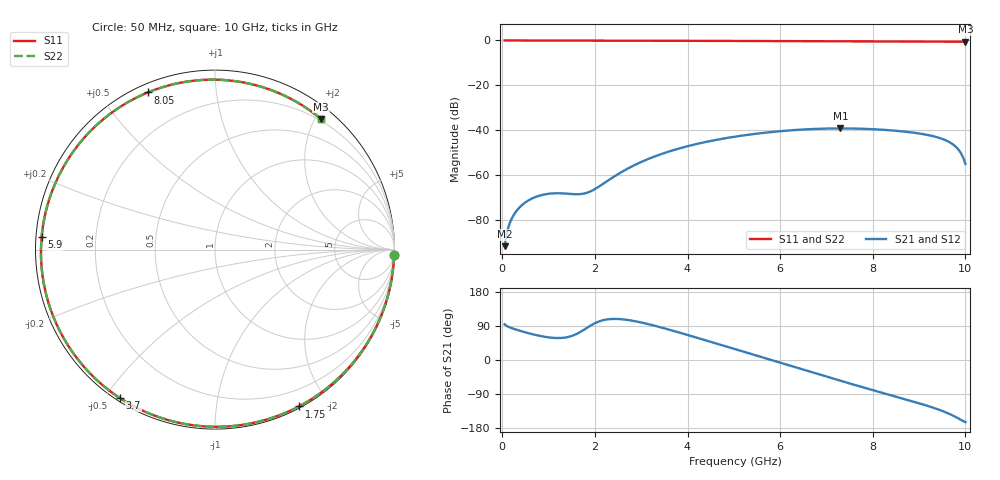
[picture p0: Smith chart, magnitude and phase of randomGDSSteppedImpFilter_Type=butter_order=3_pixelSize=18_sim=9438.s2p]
! freq	dB(S11)	phase(S11)	dB(S12)	phase(S12)
!  dB(S21)	phase(S21)	dB(S22)	phase(S22)
!S-par simulation data
#  GHz  S  DB  R 50
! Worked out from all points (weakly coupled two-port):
!   200 points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, 50 MHz to 10 GHz, reference 50 ohm
!   highest |S21| = -39.09 dB at 7.3 GHz (marker M1); lowest = -91.4 dB at 50 MHz (marker M2)
!   lowest |S11| = -0.6 dB at 10 GHz (marker M3), VSWR 30.76, Z = 8.76 + j104 ohm
!   |S11| at or under -10 dB: nowhere
!   |S22| runs from -0.6 to 0.0 dB; largest |S21 - S12| = 0
!   S11 on the Smith chart (normalised r, x): 50 MHz: 1, -65; 1.75 GHz: 0.02, -1.67; 3.7 GHz: 0.01, -0.55; 5.9 GHz: 0.02, +0.04; 8.05 GHz: 0.04, +0.66; 10 GHz: 0.18, +2.09
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0.05  -0.01 -1.8  -91.43 94.3  -91.43 94.3  -0.01 -1.8
0.2  -0.02 -7.2  -79.33 84.3  -79.33 84.3  -0.02 -7.2
0.4  -0.02 -14.5  -73.63 76.4  -73.63 76.4  -0.02 -14.5
0.75  -0.04 -27.1  -69.33 65.2  -69.33 65.2  -0.04 -27.1
1.1  -0.05 -39.5  -67.95 58.4  -67.95 58.4  -0.05 -39.5
1.75  -0.08 -61.8  -68.11 78.8  -68.11 78.8  -0.08 -61.8
2  -0.09 -70.1  -66.05 97.1  -66.05 97.1  -0.09 -70.1
2.55  -0.11 -87.8  -58.79 107.9  -58.79 107.9  -0.11 -87.8
3.4  -0.14 -113.7  -50.73 86.9  -50.73 86.9  -0.14 -113.7
3.7  -0.15 -122.5  -48.72 76.7  -48.72 76.7  -0.15 -122.5
4.4  -0.19 -142.5  -45.09 51.6  -45.09 51.6  -0.19 -142.5
5.05  -0.22 -160.6  -42.68 27.9  -42.68 27.9  -0.22 -160.6
5.9  -0.28 175.8  -40.52 -3.3  -40.52 -3.3  -0.28 175.8
6.7  -0.33 153.3  -39.37 -32.7  -39.37 -32.7  -0.33 153.3
7.3  -0.37 135.8  -39.09 -54.7  -39.09 -54.7  -0.37 135.8
8.05  -0.43 113.2  -39.49 -81.2  -39.49 -81.2  -0.43 113.1
8.35  -0.45 103.8  -39.89 -91.6  -39.89 -91.6  -0.45 103.8
8.95  -0.49 84.8  -41.20 -112.3  -41.20 -112.3  -0.49 84.8
9.55  -0.53 65.5  -44.15 -136.8  -44.15 -136.8  -0.53 65.4
9.85  -0.55 55.8  -48.51 -154.2  -48.51 -154.2  -0.55 55.7
9.95  -0.56 52.5  -51.95 -161.0  -51.95 -161.0  -0.56 52.5
10  -0.56 50.9  -54.86 -163.9  -54.86 -163.9  -0.56 50.9
